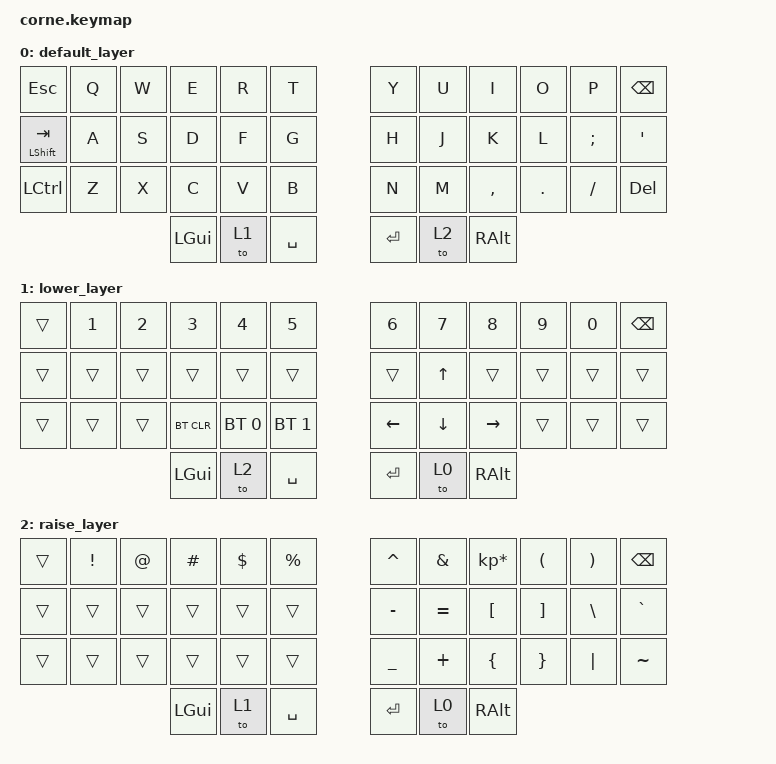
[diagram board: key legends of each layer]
/*
 * Copyright (c) 2020 The ZMK Contributors
 *
 * SPDX-License-Identifier: MIT
 */

#include <behaviors.dtsi>
#include <dt-bindings/zmk/bt.h>
#include <dt-bindings/zmk/keys.h>

/ {
    keymap {
        compatible = "zmk,keymap";

        default_layer {
            // -----------------------------------------------------------------------------------------
            // |  TAB |  Q  |  W  |  E  |  R  |  T  |   |  Y  |  U   |  I  |  O  |  P  | BKSP |
            // | CTRL |  A  |  S  |  D  |  F  |  G  |   |  H  |  J   |  K  |  L  |  ;  |  '   |
            // | SHFT |  Z  |  X  |  C  |  V  |  B  |   |  N  |  M   |  ,  |  .  |  /  | ESC  |
            //                    | GUI | LWR | SPC |   | ENT | RSE  | ALT |

            bindings = <
&kp ESC             &kp Q  &kp W  &kp E     &kp R  &kp T        &kp Y    &kp U  &kp I      &kp O    &kp P     &kp BSPC
&mt LEFT_SHIFT TAB  &kp A  &kp S  &kp D     &kp F  &kp G        &kp H    &kp J  &kp K      &kp L    &kp SEMI  &kp SQT
&kp LEFT_CONTROL    &kp Z  &kp X  &kp C     &kp V  &kp B        &kp N    &kp M  &kp COMMA  &kp DOT  &kp FSLH  &kp DELETE
                                  &kp LGUI  &to 1  &kp SPACE    &kp RET  &to 2  &kp RALT
            >;
        };

        lower_layer {
            // -----------------------------------------------------------------------------------------
            // |  TAB |  1  |  2  |  3  |  4  |  5  |   |  6  |  7  |  8  |  9  |  0  | BKSP |
            // | BTCLR| BT1 | BT2 | BT3 | BT4 | BT5 |   | LFT | DWN |  UP | RGT |     |      |
            // | SHFT |     |     |     |     |     |   |     |     |     |     |     |      |
            //                    | GUI |     | SPC |   | ENT |     | ALT |

            bindings = <
&trans  &kp N1  &kp N2  &kp N3      &kp N4        &kp N5          &kp N6          &kp N7          &kp N8           &kp N9  &kp N0  &kp BSPC
&trans  &trans  &trans  &trans      &trans        &trans          &trans          &kp UP_ARROW    &trans           &trans  &trans  &trans
&trans  &trans  &trans  &bt BT_CLR  &bt BT_SEL 0  &bt BT_SEL 1    &kp LEFT_ARROW  &kp DOWN_ARROW  &kp RIGHT_ARROW  &trans  &trans  &trans
                        &kp LGUI    &to 2         &kp SPACE       &kp RET         &to 0           &kp RALT
            >;
        };

        raise_layer {
            // -----------------------------------------------------------------------------------------
            // |  TAB |  !  |  @  |  #  |  $  |  %  |   |  ^  |  &  |  *  |  (  |  )  | BKSP |
            // | CTRL |     |     |     |     |     |   |  -  |  =  |  [  |  ]  |  \  |  `   |
            // | SHFT |     |     |     |     |     |   |  _  |  +  |  {  |  }  | "|" |  ~   |
            //                    | GUI |     | SPC |   | ENT |     | ALT |

            bindings = <
&trans  &kp EXCL  &kp AT  &kp HASH  &kp DLLR  &kp PRCNT    &kp CARET  &kp AMPS   &kp KP_MULTIPLY  &kp LPAR  &kp RPAR  &kp BSPC
&trans  &trans    &trans  &trans    &trans    &trans       &kp MINUS  &kp EQUAL  &kp LBKT         &kp RBKT  &kp BSLH  &kp GRAVE
&trans  &trans    &trans  &trans    &trans    &trans       &kp UNDER  &kp PLUS   &kp LBRC         &kp RBRC  &kp PIPE  &kp TILDE
                          &kp LGUI  &to 1     &kp SPACE    &kp RET    &to 0      &kp RALT
            >;
        };
    };
};
